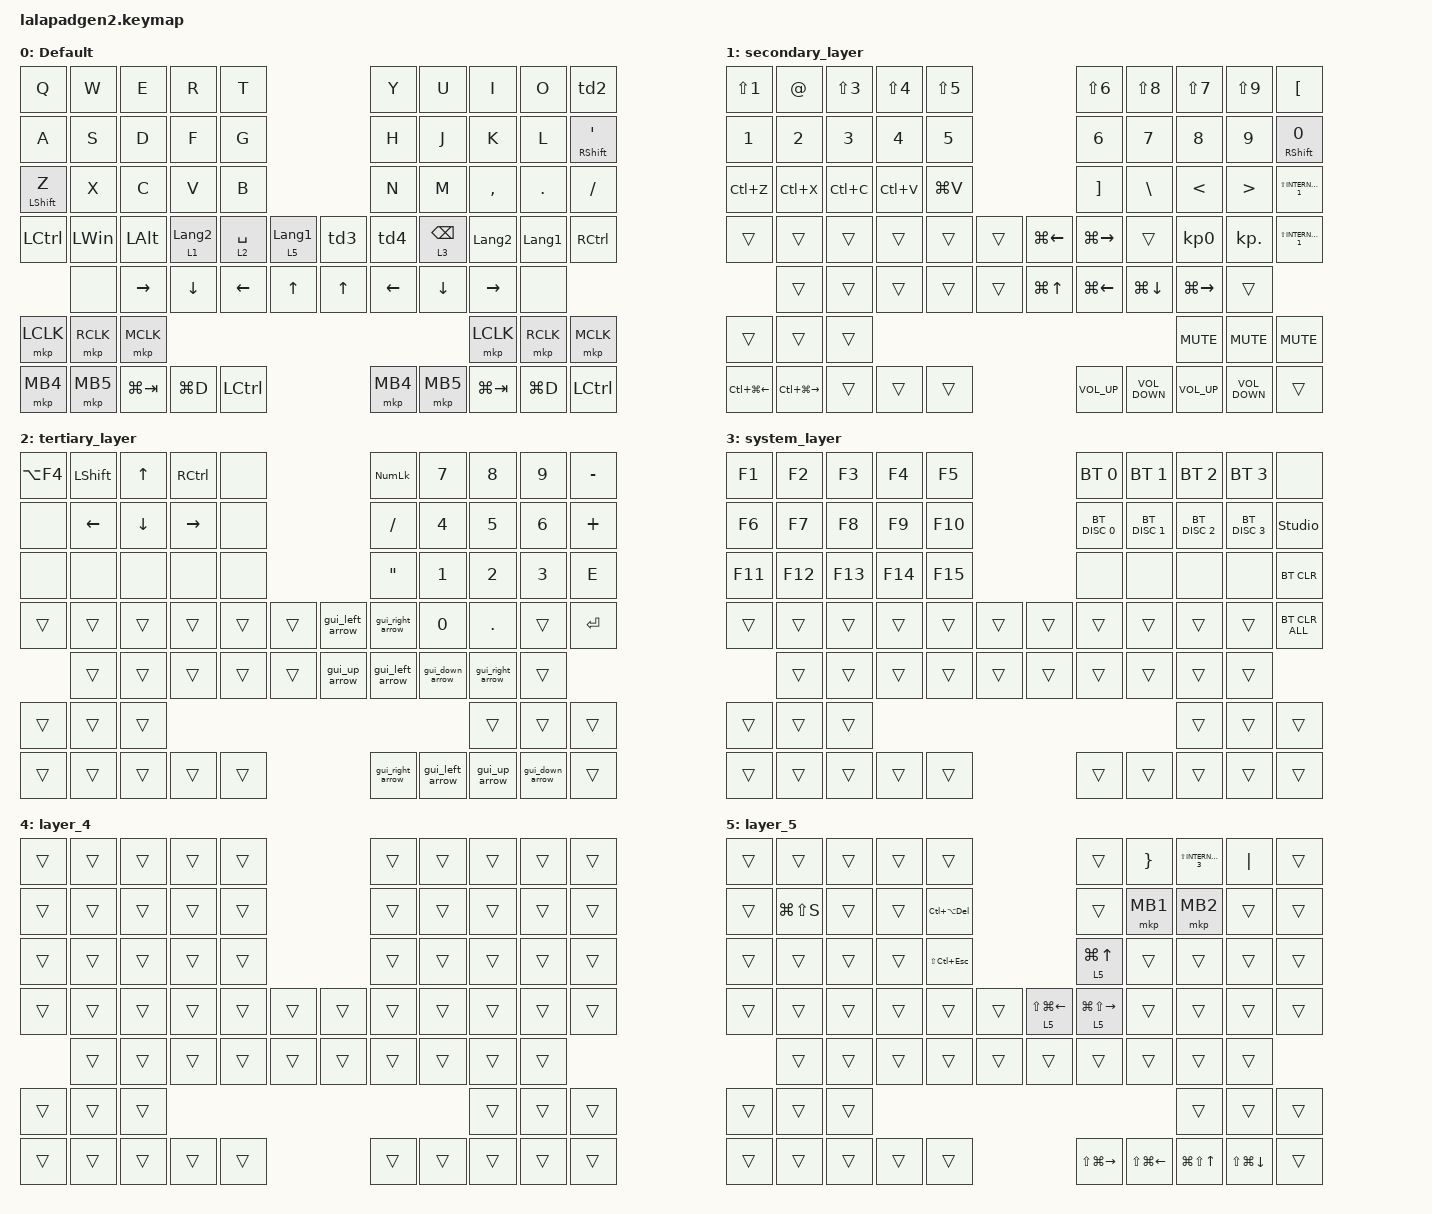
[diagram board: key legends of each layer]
#include <input/processors.dtsi>
#include <dt-bindings/zmk/zip_dynamic_scale.h>
#include <behaviors.dtsi>
#include <dt-bindings/zmk/bt.h>
#include <dt-bindings/zmk/keys.h>
#include <dt-bindings/zmk/pointing.h>

#define DEFAULT_LAYER   0
#define SECONDARY_LAYER 1
#define TERTIARY_LAYER  2
#define SYSTEM_LAYER    3

&mt { quick-tap-ms = <200>; };

&lt { quick-tap-ms = <200>; };

/ {
    behaviors {
        zip_dyn_scale: zip_dyn_scale {
            compatible = "zmk,behavior-zip-dynamic-scale";
            #binding-cells = <2>;
        };

        zip_dyn_scale_set: zip_dyn_scale_set {
            compatible = "zmk,behavior-zip-dynamic-scale-set";
            #binding-cells = <2>;
        };

        mt2: mod_tap2 {
            compatible = "zmk,behavior-hold-tap";
            #binding-cells = <2>;
            flavor = "tap-preferred";
            tapping-term-ms = <200>;
            quick-tap-ms = <200>;
            require-prior-idle-ms = <125>;
            bindings = <&kp>, <&kp>;
        };

        tap_dance_layer_1and2: tap_dance_layer_1and2 {
            compatible = "zmk,behavior-tap-dance";
            label = "td_mo12";
            #binding-cells = <0>;
            bindings = <&mo 1>, <&mo 2>;
        };

        /*
        td0: tap_dance_0 {
            compatible = "zmk,behavior-tap-dance";
            #binding-cells = <0>;
            tapping-term-ms = <200>;
            bindings = <&mt LALT LANG2>, <&mo RAISE>, <&mo MOUSE>;
        };

        td1: tap_dance_1 {
            compatible = "zmk,behavior-tap-dance";
            #binding-cells = <0>;
            tapping-term-ms = <200>;
            bindings = <&mt RCTL LANG1>, <&mo RAISE>, <&mo 5>;
        };
*/

        td2: p_layer3_p {
            compatible = "zmk,behavior-tap-dance";
            label = "p_layer3_p";
            #binding-cells = <0>;
            bindings = <&lt 3 P>, <&kp P>;
        };

        td3: left_layer1_left {
            compatible = "zmk,behavior-tap-dance";
            label = "left_layer1_left";
            #binding-cells = <0>;
            bindings = <&lt 1 LEFT>, <&kp LEFT>;
        };

        td4: right_layer2_right {
            compatible = "zmk,behavior-tap-dance";
            label = "right_layer2_right";
            #binding-cells = <0>;
            bindings = <&lt 2 RIGHT>, <&kp RIGHT>;
        };

        td5: zero_ctrl_zero {
            compatible = "zmk,behavior-tap-dance";
            label = "Tzero_ctrl_zero";
            #binding-cells = <0>;
            bindings = <&mt LEFT_CONTROL KP_NUMBER_0>, <&kt KP_NUMBER_0>;
        };
    };

    combos {
        compatible = "zmk,combos";

        CONBO_ESC {
            bindings = <&kp ESCAPE>;
            key-positions = <0 1>;
        };

        COMBO_TAB {
            bindings = <&kp TAB>;
            key-positions = <10 11>;
        };

        Enter {
            bindings = <&kp ENTER>;
            key-positions = <18 19>;
        };

        backspace {
            bindings = <&kp BACKSPACE>;
            key-positions = <8 9>;
        };
    };

    macros {
        /*  to_scroll_layer: to_scroll_layer {
            compatible = "zmk,behavior-macro";
            #binding-cells = <0>;
            bindings =
                <&to SCROLL>,
                <&macro_press>,
                <&mo SCROLL>,
                <&macro_pause_for_release>,
                <&macro_release>,
                <&mo SCROLL>;
        };
*/

        gui_down_arrow: gui_down_arrow {
            compatible = "zmk,behavior-macro";
            #binding-cells = <0>;
            bindings = <&kt LEFT_GUI &kp DOWN &kt LEFT_GUI>;
            label = "GUI_DOWN_ARROW";
            wait-ms = <100>;
        };

        gui_up_arrow: gui_up_arrow {
            compatible = "zmk,behavior-macro";
            #binding-cells = <0>;
            bindings = <&kt LEFT_GUI &kp UP_ARROW &kt LEFT_GUI>;
            label = "GUI_UP_ARROW";
            wait-ms = <100>;
        };

        gui_left_arrow: gui_left_arrow {
            compatible = "zmk,behavior-macro";
            #binding-cells = <0>;
            bindings = <&kt LEFT_GUI &kp LEFT &kt LEFT_GUI>;
            label = "GUI_LEFT_ARROW";
            wait-ms = <100>;
        };

        gui_right_arrow: gui_right_arrow {
            compatible = "zmk,behavior-macro";
            #binding-cells = <0>;
            bindings = <&kt LEFT_GUI &kp RIGHT &kt LEFT_GUI>;
            label = "GUI_RIGHT_ARROW";
        };

        gui_tab: gui_tab {
            compatible = "zmk,behavior-macro";
            #binding-cells = <0>;
            bindings = <&kt LEFT_GUI &kp TAB &kt LEFT_GUI>;
            label = "GUI_TAB";
            wait-ms = <100>;
        };
    };

    keymap {
        compatible = "zmk,keymap";

        DEFAULT_LAYER {
            display-name = "Default";
            bindings = <
&kp Q              &kp W      &kp E         &kp R             &kp T                                  &kp Y     &kp U            &kp I           &kp O           &td2
&kp A              &kp S      &kp D         &kp F             &kp G                                  &kp H     &kp J            &kp K           &kp L           &mt RIGHT_SHIFT SINGLE_QUOTE
&mt2 LEFT_SHIFT Z  &kp X      &kp C         &kp V             &kp B                                  &kp N     &kp M            &kp COMMA       &kp PERIOD      &kp SLASH
&kp LCTRL          &kp LWIN   &kp LEFT_ALT  &lt 1 LANGUAGE_2  &lt 2 SPACE  &lt 5 LANGUAGE_1  &td3    &td4      &lt 3 BACKSPACE  &kp LANGUAGE_2  &kp LANGUAGE_1  &kp RCTRL
                   &none      &kp RIGHT     &kp DOWN          &kp LEFT     &kp UP            &kp UP  &kp LEFT  &kp DOWN         &kp RIGHT       &none
&mkp LCLK          &mkp RCLK  &mkp MCLK                                                                                         &mkp LCLK       &mkp RCLK       &mkp MCLK
&mkp MB4           &mkp MB5   &kp LG(TAB)   &kp LG(D)         &kp LCTRL                              &mkp MB4  &mkp MB5         &kp LG(TAB)     &kp LG(D)       &kp LCTRL
            >;
        };

        SECONDARY_LAYER {
            display-name = "secondary_layer";
            bindings = <
&kp LS(NUMBER_1)  &kp AT             &kp LS(NUMBER_3)  &kp LS(NUMBER_4)  &kp LS(N5)                            &kp LS(NUMBER_6)   &kp LS(N8)         &kp LS(N7)       &kp LS(N9)         &kp LEFT_BRACKET
&kp NUMBER_1      &kp NUMBER_2       &kp NUMBER_3      &kp NUMBER_4      &kp N5                                &kp NUMBER_6       &kp N7             &kp N8           &kp N9             &mt RIGHT_SHIFT N0
&kp LC(Z)         &kp LC(X)          &kp LC(C)         &kp LC(V)         &kp LG(V)                             &kp RIGHT_BRACKET  &kp BACKSLASH      &kp LESS_THAN    &kp GREATER_THAN   &kp LS(INTERNATIONAL_1)
&trans            &trans             &trans            &trans            &trans      &trans  &kp LG(LEFT)      &kp LG(RIGHT)      &trans             &kp KP_NUMBER_0  &kp KP_DOT         &kp LS(INTERNATIONAL_1)
                  &trans             &trans            &trans            &trans      &trans  &kp LG(UP_ARROW)  &kp LG(LEFT)       &kp LG(DOWN)       &kp LG(RIGHT)    &trans
&trans            &trans             &trans                                                                                                          &kp K_MUTE       &kp K_MUTE         &kp K_MUTE
&kp LC(LG(LEFT))  &kp LC(LG(RIGHT))  &trans            &trans            &trans                                &kp C_VOLUME_UP    &kp C_VOLUME_DOWN  &kp C_VOLUME_UP  &kp C_VOLUME_DOWN  &trans
            >;
        };

        TERTIARY_LAYER {
            display-name = "tertiary_layer";
            bindings = <
&kp LA(F4)  &kp LEFT_SHIFT  &kp UP_ARROW  &kp RCTRL  &none                            &kp KP_NUMLOCK     &kp N7           &kp N8            &kp N9           &kp MINUS
&none       &kp LEFT        &kp DOWN      &kp RIGHT  &none                            &kp SLASH          &kp NUMBER_4     &kp N5            &kp NUMBER_6     &kp PLUS
&none       &none           &none         &none      &none                            &kp DOUBLE_QUOTES  &kp NUMBER_1     &kp NUMBER_2      &kp NUMBER_3     &kp E
&trans      &trans          &trans        &trans     &trans  &trans  &gui_left_arrow  &gui_right_arrow   &kp N0           &kp PERIOD        &trans           &kp ENTER
            &trans          &trans        &trans     &trans  &trans  &gui_up_arrow    &gui_left_arrow    &gui_down_arrow  &gui_right_arrow  &trans
&trans      &trans          &trans                                                                                        &trans            &trans           &trans
&trans      &trans          &trans        &trans     &trans                           &gui_right_arrow   &gui_left_arrow  &gui_up_arrow     &gui_down_arrow  &trans
            >;
        };

        SYSTEM_LAYER {
            display-name = "system_layer";
            bindings = <
&kp F1   &kp F2   &kp F3   &kp F4   &kp F5                   &bt BT_SEL 0   &bt BT_SEL 1   &bt BT_SEL 2   &bt BT_SEL 3   &none
&kp F6   &kp F7   &kp F8   &kp F9   &kp F10                  &bt BT_DISC 0  &bt BT_DISC 1  &bt BT_DISC 2  &bt BT_DISC 3  &studio_unlock
&kp F11  &kp F12  &kp F13  &kp F14  &kp F15                  &none          &none          &none          &none          &bt BT_CLR
&trans   &trans   &trans   &trans   &trans   &trans  &trans  &trans         &trans         &trans         &trans         &bt BT_CLR_ALL
         &trans   &trans   &trans   &trans   &trans  &trans  &trans         &trans         &trans         &trans
&trans   &trans   &trans                                                                   &trans         &trans         &trans
&trans   &trans   &trans   &trans   &trans                   &trans         &trans         &trans         &trans         &trans
            >;
        };

        layer_4 {
            bindings = <
&trans  &trans  &trans  &trans  &trans                  &trans  &trans  &trans  &trans  &trans
&trans  &trans  &trans  &trans  &trans                  &trans  &trans  &trans  &trans  &trans
&trans  &trans  &trans  &trans  &trans                  &trans  &trans  &trans  &trans  &trans
&trans  &trans  &trans  &trans  &trans  &trans  &trans  &trans  &trans  &trans  &trans  &trans
        &trans  &trans  &trans  &trans  &trans  &trans  &trans  &trans  &trans  &trans
&trans  &trans  &trans                                                  &trans  &trans  &trans
&trans  &trans  &trans  &trans  &trans                  &trans  &trans  &trans  &trans  &trans
            >;
        };

        layer_5 {
            bindings = <
&trans  &trans         &trans  &trans  &trans                                          &trans               &kp RIGHT_BRACE   &kp LS(INTERNATIONAL_3)  &kp PIPE          &trans
&trans  &kp LG(LS(S))  &trans  &trans  &kp LC(LA(DELETE))                              &trans               &mkp MB1          &mkp MB2                 &trans            &trans
&trans  &trans         &trans  &trans  &kp LS(LC(ESCAPE))                              &lt 5 LG(UP_ARROW)   &trans            &trans                   &trans            &trans
&trans  &trans         &trans  &trans  &trans              &trans  &lt 5 LS(LG(LEFT))  &lt 5 LG(LS(RIGHT))  &trans            &trans                   &trans            &trans
        &trans         &trans  &trans  &trans              &trans  &trans              &trans               &trans            &trans                   &trans
&trans  &trans         &trans                                                                                                 &trans                   &trans            &trans
&trans  &trans         &trans  &trans  &trans                                          &kp LS(LG(RIGHT))    &kp LS(LG(LEFT))  &kp LG(LS(UP_ARROW))     &kp LS(LG(DOWN))  &trans
            >;
        };
    };
  /*
    conditional_layers {
        compatible = "zmk,conditional-layers";

        Cond_Syslayer {
            if-layers = <1 2>;
            then-layer = <3>;
        };
    };
*/
};
